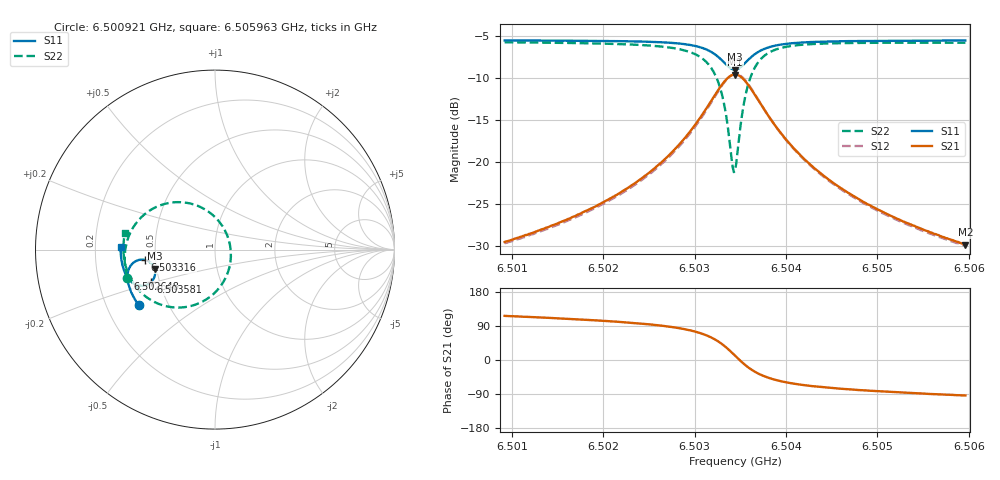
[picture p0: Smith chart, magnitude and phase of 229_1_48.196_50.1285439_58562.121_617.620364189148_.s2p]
#  HZ  S  RI  R  50.00
! Rohde & Schwarz Vector Network Analyzer
! Rohde-Schwarz,ZNB20-2Port,1311601062101988,3.16
! Created: UTC 3/20/2024, 11:46:16 AM
! freq[Hz]  re:S11  im:S11  re:S21  im:S21  re:S12  im:S12  re:S22  im:S22
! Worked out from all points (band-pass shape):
!   401 points, 6.500921 GHz to 6.505963 GHz, reference 50 ohm
!   highest |S21| = -9.62 dB at 6.503442 GHz (marker M1); lowest = -29.8 dB at 6.505963 GHz (marker M2)
!   |S21| within 3 dB of the highest: 6.503189 GHz to 6.503694 GHz (504.8 kHz wide, 0.00776 % of centre)
!   lowest |S11| = -9.0 dB at 6.503442 GHz (marker M3), VSWR 2.09, Z = 24.3 - j5.95 ohm
!   |S11| at or under -10 dB: nowhere
!   |S22| runs from -21.2 to -5.8 dB; largest |S21 - S12| = 0.011
!   S11 on the Smith chart (normalised r, x): 6.500921 GHz: 0.34, -0.29; 6.502648 GHz: 0.33, -0.14; 6.503316 GHz: 0.44, -0.06; 6.503581 GHz: 0.45, -0.19; 6.505963 GHz: 0.31, +0.01
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6.5009212e9  -0.4249 -0.3109  -0.0149 0.0299  -0.0132 0.0301  -0.4893 -0.1566
6.5017658e9  -0.4614 -0.2488  -0.0144 0.0477  -0.0119 0.0472  -0.5028 -0.0673
6.5022448e9  -0.4783 -0.2063  -0.0112 0.0679  -0.00816 0.0667  -0.4996 0.000975
6.5026103e9  -0.487 -0.1659  -0.00233 0.0964  0.00126 0.0942  -0.4805 0.0743
6.5026481e9  -0.4875 -0.161  -0.000585 0.1007  0.00312 0.0982  -0.4765 0.0835
6.5029254e9  -0.4835 -0.118  0.0262 0.1433  0.0299 0.1388  -0.4209 0.1695
6.5031145e9  -0.462 -0.0799  0.0805 0.1854  0.083 0.1791  -0.317 0.2421
6.5032279e9  -0.4295 -0.0593  0.1498 0.2029  0.1507 0.1965  -0.192 0.2641
6.5033162e9  -0.3888 -0.0576  0.2295 0.1863  0.2299 0.1813  -0.0544 0.223
6.503354e9  -0.3697 -0.0654  0.2659 0.163  0.2669 0.1584  0.00571 0.1756
6.503417e9  -0.3429 -0.0923  0.3137 0.0986  0.3164 0.0936  0.0774 0.0515
6.5034422e9  -0.3365 -0.107  0.3237 0.0661  0.3269 0.0602  0.088 -0.00895
6.5034674e9  -0.3335 -0.1227  0.3273 0.0324  0.3307 0.0253  0.0858 -0.0706
6.5035305e9  -0.3408 -0.1602  0.3087 -0.0456  0.3108 -0.0557  0.0292 -0.2062
6.5035809e9  -0.3573 -0.182  0.275 -0.0912  0.2744 -0.1024  -0.0476 -0.277
6.5036943e9  -0.4018 -0.2013  0.1904 -0.1358  0.1851 -0.1453  -0.219 -0.3226
6.5038582e9  -0.448 -0.1915  0.1085 -0.1326  0.1015 -0.1376  -0.3663 -0.2754
6.5040347e9  -0.4755 -0.1703  0.0639 -0.1123  0.0578 -0.1145  -0.4384 -0.2104
6.5042868e9  -0.4963 -0.1403  0.0339 -0.088  0.0292 -0.0883  -0.4817 -0.138
6.5046649e9  -0.5117 -0.1008  0.0149 -0.0647  0.0116 -0.0642  -0.5043 -0.0629
6.5051313e9  -0.5212 -0.0578  0.00505 -0.0481  0.00283 -0.0474  -0.5104 0.00268
6.5059632e9  -0.526 0.0125  -0.00204 -0.0322  -0.00343 -0.0314  -0.5024 0.0907
